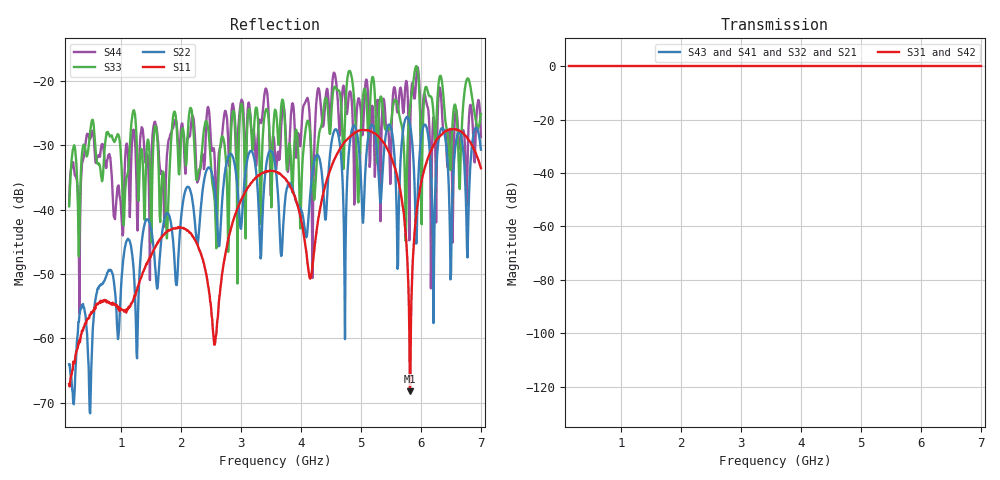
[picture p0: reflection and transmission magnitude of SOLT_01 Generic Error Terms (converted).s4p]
# Hz S RI R 50.000000
! Metas.Vna.Tools, 2.8.8664.20301
! Metas.Vna.Data, 2.8.8664.20285
! Created: UTC 2024.02.15 19:26:58
! FREQ  re:S1,1  im:S1,1  re:S1,2  im:S1,2  re:S1,3  im:S1,3  re:S1,4  im:S1,4
!  re:S2,1  im:S2,1  re:S2,2  im:S2,2  re:S2,3  im:S2,3  re:S2,4  im:S2,4
!  re:S3,1  im:S3,1  re:S3,2  im:S3,2  re:S3,3  im:S3,3  re:S3,4  im:S3,4
!  re:S4,1  im:S4,1  re:S4,2  im:S4,2  re:S4,3  im:S4,3  re:S4,4  im:S4,4
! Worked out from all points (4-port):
!   801 points, 130 MHz to 7 GHz, reference 50 ohm
!   strongest paths, dB at 130 MHz, 1.847 GHz, 3.565 GHz, 5.282 GHz, 7 GHz:
!     S31: 0.0, 0.0, 0.0, 0.0, 0.0
!     S42: 0.0, -0.1, -0.2, -0.3, -0.3
!     S43: -, -, -, -, -
!     S41: -, -, -, -, -
!     S32: -, -, -, -, -
!     S21: -, -, -, -, -
!   lowest |S11| = -68.2 dB at 5.815 GHz (marker M1), VSWR 1.00, Z = 50 + j0.0312 ohm
!   |S11| at or under -10 dB: start of sweep to end of sweep
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1.3e8  -0.000381 0.000225  0 0  0.0147 0.0804  0 0
       0 0  7.77e-05 0.000625  0 0  0.0889 0.033
       1 0  0 0  -0.01 -0.00337  0 0
       0 0  0.3947 -0.923  0 0  4.87e-05 0.0111
1.2292e9  -0.000638 -0.00201  0 0  0.5025 0.13  0 0
          0 0  0.000338 -0.00212  0 0  -0.2221 0.5421
          1 0  0 0  0.0363 -0.0411  0 0
          0 0  -0.00199 0.9991  0 0  -0.0166 0.0292
1.5727e9  0.00365 -0.00362  0 0  0.5766 0.0131  0 0
          0 0  0.00146 -0.00297  0 0  0.1508 -0.6271
          1 0  0 0  -0.0308 -0.0322  0 0
          0 0  0.0703 -0.9907  0 0  0.0081 0.045
1.933375e9  0.00718 -0.000308  0 0  0.6072 -0.1351  0 0
            0 0  0.00253 -0.00127  0 0  0.0561 0.6903
            1 0  0 0  -0.00173 0.0365  0 0
            0 0  0.00729 0.9853  0 0  -0.0127 -0.0392
2.276875e9  0.00409 0.00328  0 0  0.5924 -0.268  0 0
            0 0  0.00291 -0.00458  0 0  -0.1494 -0.7058
            1 0  0 0  -0.0186 0.00355  0 0
            0 0  0.0621 -0.9847  0 0  0.0156 0.00642
5.814925e9  0.000233 0.000312  0 0  -0.3972 -0.6497  0 0
            0 0  0.0256 0.0387  0 0  -0.7261 0.3635
            1 0  0 0  -0.0503 0.035  0 0
            0 0  -0.1179 -0.9622  0 0  -0.00731 -0.0245
7e9  0.0116 -0.0174  0 0  -0.6817 -0.3724  0 0
     0 0  0.00443 -0.0288  0 0  -0.4304 -0.6934
     1 0  0 0  0.0318 -0.0451  0 0
     0 0  0.9249 0.2706  0 0  -0.0365 -0.00077
